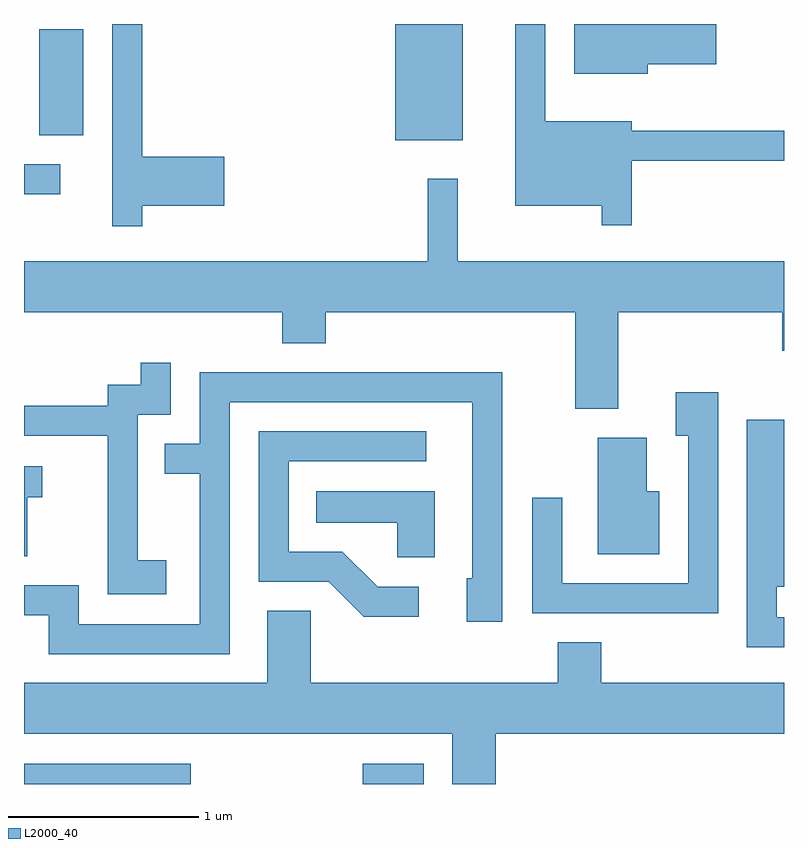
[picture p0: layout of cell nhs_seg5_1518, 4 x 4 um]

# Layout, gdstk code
import gdstk
lib = gdstk.Library(unit=1e-6, precision=1e-09)
def R(c, l, rs):  # rectangles x0, y0, x1, y1
    for r in rs: c.add(gdstk.rectangle(r[:2], r[2:], *l))
def P(c, l, *ps):  # polygons
    for p in ps: c.add(gdstk.Polygon(p, *l))
L2000_40 = (2000, 40)

nhs_seg5_1518 = lib.new_cell('nhs_seg5_1518')
R(nhs_seg5_1518, L2000_40, [(229.611,1472.072,230.489,1472.179), (231.393,1472.072,231.714,1472.179), (229.611,1475.176,229.803,1475.334), (231.566,1475.461,231.919,1476.072), (229.691,1475.486,229.924,1476.044)])
P(nhs_seg5_1518, L2000_40, [(232.894,1475.861),(233.254,1475.861),(233.254,1476.072),(232.506,1476.072),(232.506,1475.811),(232.894,1475.811)],
  [(232.809,1475.351),(233.611,1475.351),(233.611,1475.509),(232.809,1475.509),(232.809,1475.559),(232.354,1475.559),(232.354,1476.072),(232.196,1476.072),(232.196,1475.116),(232.651,1475.116),(232.651,1475.013),(232.809,1475.013)],
  [(230.234,1475.116),(230.664,1475.116),(230.664,1475.374),(230.234,1475.374),(230.234,1476.072),(230.076,1476.072),(230.076,1475.008),(230.234,1475.008)],
  [(231.894,1475.258),(231.736,1475.258),(231.736,1474.824),(229.611,1474.824),(229.611,1474.556),(230.971,1474.556),(230.971,1474.391),(231.199,1474.391),(231.199,1474.556),(232.511,1474.556),(232.511,1474.046),(232.739,1474.046),(232.739,1474.556),(233.601,1474.556),(233.601,1474.351),(233.611,1474.351),(233.611,1474.824),(231.894,1474.824)],
  [(230.359,1473.249),(230.209,1473.249),(230.209,1474.016),(230.384,1474.016),(230.384,1474.288),(230.226,1474.288),(230.226,1474.174),(230.051,1474.174),(230.051,1474.064),(229.611,1474.064),(229.611,1473.906),(230.051,1473.906),(230.051,1473.071),(230.359,1473.071)],
  [(230.694,1474.081),(231.971,1474.081),(231.971,1473.154),(231.941,1473.154),(231.941,1472.926),(232.129,1472.926),(232.129,1474.239),(230.536,1474.239),(230.536,1473.864),(230.353,1473.864),(230.353,1473.706),(230.536,1473.706),(230.536,1472.914),(229.899,1472.914),(229.899,1473.119),(229.611,1473.119),(229.611,1472.961),(229.741,1472.961),(229.741,1472.756),(230.694,1472.756)],
  [(233.264,1474.134),(233.041,1474.134),(233.041,1473.906),(233.106,1473.906),(233.106,1473.129),(232.444,1473.129),(232.444,1473.578),(232.286,1473.578),(232.286,1472.971),(233.264,1472.971)],
  [(233.611,1472.949),(233.574,1472.949),(233.574,1473.111),(233.611,1473.111),(233.611,1473.989),(233.416,1473.989),(233.416,1472.791),(233.611,1472.791)],
  [(231.688,1473.109),(231.472,1473.109),(231.287,1473.294),(231.004,1473.294),(231.004,1473.771),(231.728,1473.771),(231.728,1473.929),(230.846,1473.929),(230.846,1473.136),(231.214,1473.136),(231.399,1472.951),(231.688,1472.951)],
  [(232.954,1473.614),(232.889,1473.614),(232.889,1473.894),(232.631,1473.894),(232.631,1473.281),(232.954,1473.281)],
  [(229.629,1473.581),(229.708,1473.581),(229.708,1473.744),(229.611,1473.744),(229.611,1473.271),(229.629,1473.271)],
  [(231.774,1473.614),(231.148,1473.614),(231.148,1473.446),(231.576,1473.446),(231.576,1473.266),(231.774,1473.266)],
  [(232.094,1472.336),(233.611,1472.336),(233.611,1472.604),(232.649,1472.604),(232.649,1472.819),(232.421,1472.819),(232.421,1472.604),(231.119,1472.604),(231.119,1472.984),(230.891,1472.984),(230.891,1472.604),(229.611,1472.604),(229.611,1472.336),(231.866,1472.336),(231.866,1472.072),(232.094,1472.072)])

lib.write_gds('nhs_seg5_1518.gds')
